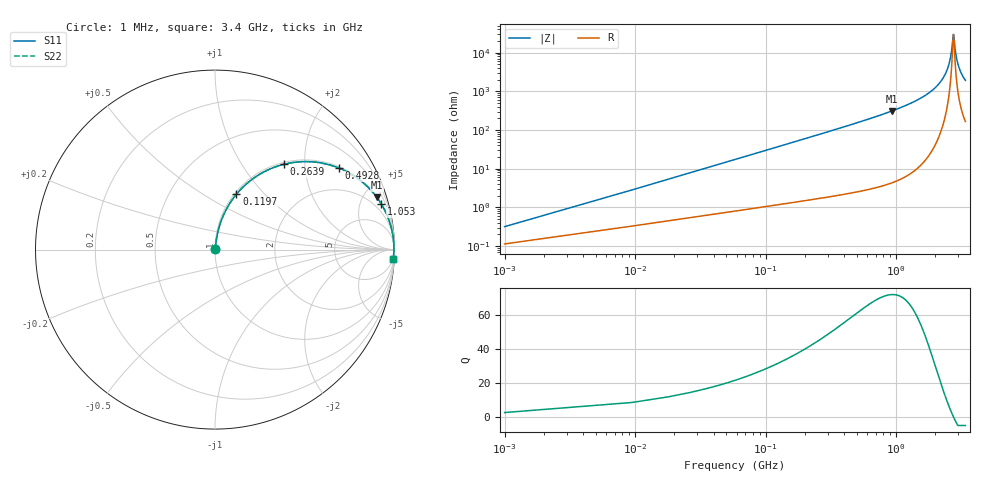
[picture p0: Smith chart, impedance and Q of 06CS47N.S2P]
! Coilcraft 0603CS-47N Chip Inductor
! 21 May 2002
# MHZ S MA R 50
!Freq  MagS11  AngS11  MagS21  AngS21  MagS12  AngS12  MagS22  AngS22
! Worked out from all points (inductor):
!   402 points, 1 MHz to 3.4 GHz, reference 50 ohm
!   read as one part in series: L = 47 nH near 17.96 MHz
!   highest Q = 72.2 at 925.3 MHz (marker M1), where L = 53 nH
!   self-resonance near 2.749 GHz
!   S11 on the Smith chart (normalised r, x): 1 MHz: 1.00, +0.01; 119.7 MHz: 1.02, +0.71; 263.9 MHz: 1.03, +1.57; 492.8 MHz: 1.05, +3.01; 1.053 GHz: 1.10, +7.28; 3.4 GHz: 4, -38
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1  0.003158 68.9  0.9989 -0.2  0.9989 -0.2  0.003158 68.9
26.44  0.07762 81.6  0.9916 -4.4  0.9916 -4.4  0.07762 81.6
34.92  0.1022 80.7  0.9887 -5.9  0.9887 -5.9  0.1022 80.7
68.84  0.1979 76.2  0.9719 -11.4  0.9719 -11.4  0.1979 76.2
119.72  0.3307 68.9  0.9331 -19.3  0.9331 -19.3  0.3307 68.9
263.88  0.6118 51.0  0.7778 -37.7  0.7778 -37.7  0.6118 51.0
492.84  0.8264 33.3  0.5496 -55.7  0.5496 -55.7  0.8264 33.3
569.16  0.8632 29.4  0.4916 -59.7  0.4916 -59.7  0.8632 29.4
925.32  0.9473 17.9  0.3075 -71.3  0.3075 -71.3  0.9473 17.9
1052.52  0.9608 15.3  0.264 -73.9  0.264 -73.9  0.9608 15.3
1137.32  0.9676 13.8  0.239 -75.4  0.239 -75.4  0.9676 13.8
1705.48  0.99 7.0  0.1213 -81.8  0.1213 -81.8  0.99 7.0
2273.64  0.9961 2.7  0.04743 -83.9  0.04743 -83.9  0.9961 2.7
2443.24  0.9966 1.7  0.02968 -82.5  0.02968 -82.5  0.9966 1.7
2570.44  0.9967 1.0  0.01734 -78.6  0.01734 -78.6  0.9967 1.0
2655.24  0.9967 0.5  0.009651 -69.9  0.009651 -69.9  0.9967 0.5
2748.52  0.9966 0.0  0.003423 -10.7  0.003423 -10.7  0.9966 0.0
2773.96  0.9966 -0.1  0.003765 25.4  0.003765 25.4  0.9966 -0.1
2841.8  0.9965 -0.4  0.008307 64.7  0.008307 64.7  0.9965 -0.4
2926.6  0.9963 -0.8  0.01518 75.3  0.01518 75.3  0.9963 -0.8
3036.84  0.9959 -1.4  0.02411 79.5  0.02411 79.5  0.9959 -1.4
3400  0.9942 -3.0  0.05187 82.1  0.05187 82.1  0.9942 -3.0
